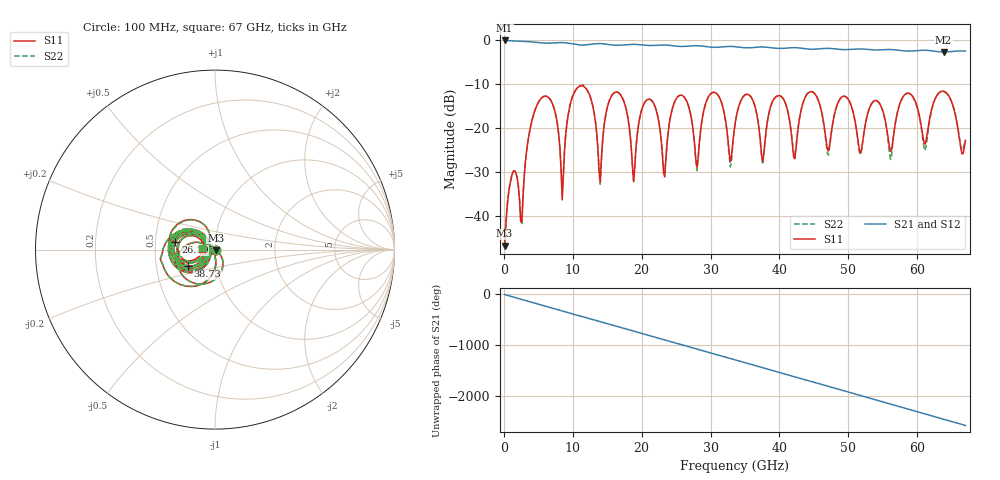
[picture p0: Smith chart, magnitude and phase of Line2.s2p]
! Touchstone file exported from HFSS 2021.2.0
!  File:  D:/20220920 new project/ISC_3rd_design/NewISC_3_with_imtiaz_dim_connector.aedt
!  Generated:  1:07:51 AM  Aug 03, 2023
!  Design:  Line2_1
!  Project:  NewISC_3_with_imtiaz_dim_connector
!  Setup:  Setup2
!  Solution:  Sweep
! Variables:
!  $_L_pin_on = 0.01nH
!  $_R_pin_on = 1ohm
!  Con_T = 0.012mm
!  Con_W = 0.11534mm
!  DUT = 26.2374mm
!  Gap = 0.71534mm
!  Gap_connector_vias = 1mm
!  L2 = 1.21mm
!  Radius = 0.225mm
!  Space = 0.837mm
!  Sub_L = 9.5988mm
!  Sub_T = 0.05mm
!  Sub_W = 13.8408mm
!  Vias_N = 19
!  Vias_gap = 1.02264444444444mm
!  quater_wave_L = 1.2798mm
# GHz S RI R 50.000000
! Terminal data exported
! Port[1] = 1
! Port[2] = 2
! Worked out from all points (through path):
!   401 points, 100 MHz to 67 GHz, reference 50 ohm
!   highest |S21| = -0.04 dB at 100 MHz (marker M1); lowest = -2.7 dB at 63.82 GHz (marker M2)
!   group delay of S21, straight-line fit = 107 ps
!   lowest |S11| = -46.8 dB at 100 MHz (marker M3), VSWR 1.01, Z = 50.4 - j0.261 ohm
!   |S11| at or under -10 dB: start of sweep to end of sweep
!   |S22| runs from -46.9 to -10.2 dB; largest |S21 - S12| = 4.4e-13
!   S11 on the Smith chart (normalised r, x): 100 MHz: 1.01, -0.01; 26.19 GHz: 0.64, +0.06; 38.73 GHz: 0.73, -0.14; 67 GHz: 0.87, +0.01
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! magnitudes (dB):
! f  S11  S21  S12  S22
! 100 MHz  -46.8  0.0  0.0  -46.9
! 4.95 GHz  -14.3  -0.5  -0.5  -14.3
! 8.463 GHz  -36.4  -0.5  -0.5  -35.2
! 11.31 GHz  -10.4  -1.1  -1.1  -10.4
! 13.98 GHz  -32.3  -0.8  -0.8  -32.8
! 15.99 GHz  -12.0  -1.1  -1.1  -12.0
! 18.83 GHz  -32.2  -0.9  -0.9  -32.1
! 20.5 GHz  -14.0  -1.1  -1.1  -14.0
! 22.51 GHz  -18.8  -1.1  -1.1  -18.7
! 23.35 GHz  -31.1  -1.1  -1.1  -30.1
! 26.19 GHz  -13.0  -1.4  -1.4  -13.0
! 28.03 GHz  -28.9  -1.2  -1.2  -29.7
! 30.04 GHz  -12.2  -1.6  -1.6  -12.2
! 33.72 GHz  -17.6  -1.5  -1.5  -17.7
! 38.73 GHz  -15.0  -1.7  -1.7  -15.0
! 42.25 GHz  -27.0  -1.7  -1.7  -26.2
! 44.76 GHz  -11.7  -2.1  -2.1  -11.7
! 47.1 GHz  -25.2  -1.8  -1.8  -26.1
! 49.44 GHz  -12.7  -2.1  -2.1  -12.8
! 55.96 GHz  -24.2  -2.1  -2.1  -25.5
! 63.82 GHz  -11.6  -2.7  -2.7  -11.7
! 67 GHz  -22.8  -2.4  -2.4  -22.7
